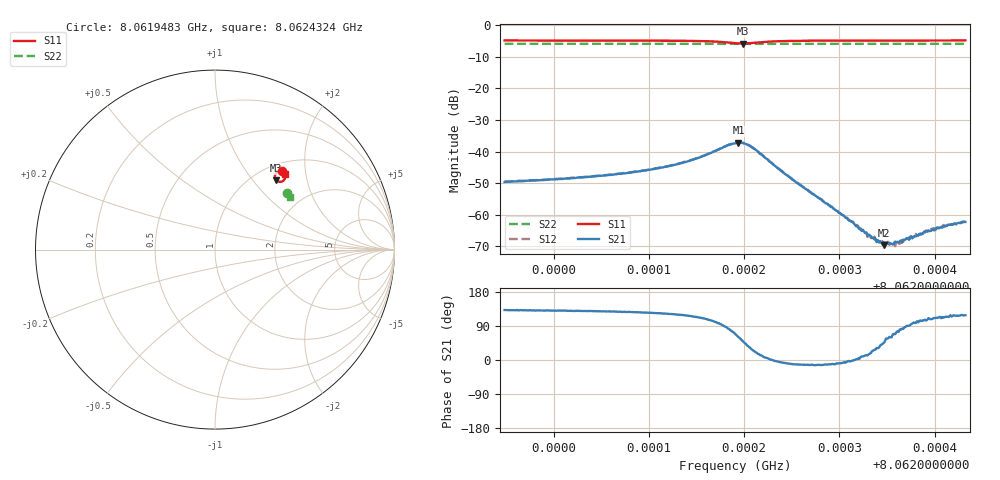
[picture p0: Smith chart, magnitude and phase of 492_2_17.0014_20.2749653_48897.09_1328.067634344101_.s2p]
#  HZ  S  RI  R  50.00
! Rohde & Schwarz Vector Network Analyzer
! Rohde-Schwarz,ZNB20-2Port,1311601062101988,3.16
! Created: UTC 3/20/2024, 11:14:08 PM
! freq[Hz]  re:S11  im:S11  re:S21  im:S21  re:S12  im:S12  re:S22  im:S22
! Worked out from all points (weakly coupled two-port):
!   401 points, 8.0619483 GHz to 8.0624324 GHz, reference 50 ohm
!   highest |S21| = -37.13 dB at 8.062194 GHz (marker M1); lowest = -69.5 dB at 8.0623465 GHz (marker M2)
!   lowest |S11| = -5.8 dB at 8.0621988 GHz (marker M3), VSWR 3.13, Z = 63.1 + j66.3 ohm
!   |S11| at or under -10 dB: nowhere
!   |S22| runs from -5.9 to -5.8 dB; largest |S21 - S12| = 0.00097
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8.06194826e9  0.3736 0.4386  -0.00221 0.00246  -0.00209 0.00264  0.4019 0.3143
8.06202936e9  0.3799 0.4325  -0.00248 0.00302  -0.00232 0.00319  0.4051 0.3102
8.06207294e9  0.3837 0.4281  -0.00273 0.00361  -0.00252 0.00381  0.4066 0.3079
8.06211046e9  0.3876 0.4222  -0.00301 0.00456  -0.00279 0.00482  0.4081 0.3058
8.06214677e9  0.3913 0.4105  -0.00312 0.00679  -0.00274 0.00709  0.4093 0.3036
8.06219035e9  0.3609 0.3775  0.00484 0.0127  0.00567 0.0125  0.4089 0.3004
8.06219398e9  0.3524 0.3794  0.00687 0.0121  0.00755 0.0118  0.4088 0.3007
8.06219883e9  0.3419 0.3859  0.00901 0.0104  0.00958 0.00982  0.4085 0.3007
8.06221093e9  0.3339 0.412  0.0102 0.00422  0.0105 0.00371  0.4088 0.3015
8.06224119e9  0.3577 0.4353  0.00461 -0.000591  0.0046 -0.000901  0.4112 0.3008
8.06227145e9  0.3705 0.4347  0.00211 -0.000466  0.0021 -0.000609  0.4129 0.2989
8.06230656e9  0.378 0.432  0.000883 -0.000111  0.000926 -0.000189  0.4144 0.297
8.06233198e9  0.3817 0.43  0.000454 0.000135  0.000449 0.000148  0.4153 0.2957
8.06234166e9  0.3828 0.4291  0.000307 0.000196  0.000319 0.000201  0.4156 0.2953
8.0623465e9  0.3833 0.429  0.000236 0.000235  0.000277 0.000216  0.4157 0.2949
8.06235256e9  0.3839 0.4285  0.000169 0.000306  0.000182 0.000282  0.416 0.2948
8.06236466e9  0.3852 0.4277  6.94e-05 0.000389  5.69e-05 0.00037  0.4164 0.294
8.06237798e9  0.3866 0.4267  -6.99e-05 0.000436  -1.66e-05 0.000466  0.4169 0.2934
8.06239129e9  0.3877 0.4258  -0.000136 0.000534  -0.000144 0.000547  0.4174 0.2926
8.06239855e9  0.3884 0.4254  -0.000191 0.000539  -0.000175 0.000587  0.4177 0.2922
8.06241671e9  0.3897 0.4243  -0.000328 0.00061  -0.000281 0.000649  0.4183 0.2913
8.06243245e9  0.391 0.4232  -0.000365 0.000679  -0.000328 0.000687  0.4187 0.2906
